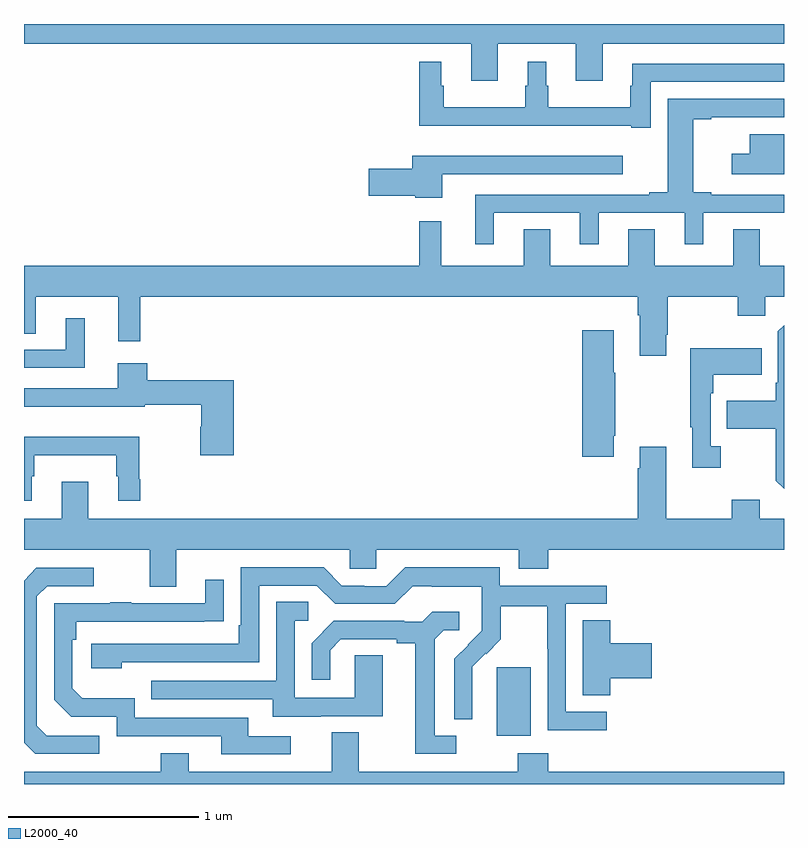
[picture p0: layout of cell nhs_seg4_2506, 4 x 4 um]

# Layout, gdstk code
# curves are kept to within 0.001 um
import gdstk
lib = gdstk.Library(unit=1e-6, precision=1e-09)
def R(c, l, rs):  # rectangles x0, y0, x1, y1
    for r in rs: c.add(gdstk.rectangle(r[:2], r[2:], *l))
def P(c, l, *ps):  # polygons
    for p in ps: c.add(gdstk.Polygon(p, *l))
L2000_40 = (2000, 40)

nhs_seg4_2506 = lib.new_cell('nhs_seg4_2506')
R(nhs_seg4_2506, L2000_40, [(243.488,817.154,243.667,817.515)])
P(nhs_seg4_2506, L2000_40, [(243.493,820.796),(243.905,820.796),(243.905,820.602),(244.045,820.602),(244.045,820.796),(245,820.796),(245,820.9),(241,820.9),(241,820.796),(243.353,820.796),(243.353,820.602),(243.493,820.602)],
  [(244.299,820.596),(245,820.596),(245,820.692),(244.202,820.692),(244.202,820.574),(244.191,820.574),(244.191,820.462),(243.76,820.462),(243.76,820.574),(243.748,820.574),(243.748,820.702),(243.65,820.702),(243.65,820.574),(243.639,820.574),(243.639,820.462),(243.208,820.462),(243.208,820.574),(243.196,820.574),(243.196,820.702),(243.079,820.702),(243.079,820.364),(244.196,820.364),(244.196,820.353),(244.299,820.353)],
  [(243.472,819.906),(243.926,819.906),(243.926,819.741),(244.024,819.741),(244.024,819.906),(244.478,819.906),(244.478,819.741),(244.576,819.741),(244.576,819.906),(245,819.906),(245,820.002),(244.618,820.002),(244.618,820.015),(244.522,820.015),(244.522,820.398),(244.618,820.398),(244.618,820.41),(245,820.41),(245,820.506),(244.388,820.506),(244.388,820.015),(244.292,820.015),(244.292,820.002),(243.374,820.002),(243.374,819.741),(243.472,819.741)],
  [(245,820.321),(244.82,820.321),(244.82,820.216),(244.725,820.216),(244.725,820.109),(245,820.109)],
  [(243.202,820.11),(244.15,820.11),(244.15,820.207),(243.044,820.207),(243.044,820.139),(242.814,820.139),(242.814,819.997),(243.06,819.997),(243.06,819.986),(243.202,819.986)],
  [(244.381,819.265),(244.389,819.265),(244.389,819.464),(244.756,819.464),(244.756,819.365),(244.902,819.365),(244.902,819.464),(245,819.464),(245,819.628),(244.873,819.628),(244.873,819.821),(244.733,819.821),(244.733,819.628),(244.321,819.628),(244.321,819.821),(244.181,819.821),(244.181,819.628),(243.769,819.628),(243.769,819.821),(243.629,819.821),(243.629,819.628),(243.197,819.628),(243.197,819.862),(243.079,819.862),(243.079,819.628),(241,819.628),(241,819.271),(241.063,819.271),(241.063,819.464),(241.496,819.464),(241.496,819.231),(241.613,819.231),(241.613,819.464),(244.229,819.464),(244.229,819.368),(244.241,819.368),(244.241,819.153),(244.381,819.153)],
  [(241.319,819.352),(241.22,819.352),(241.22,819.186),(241,819.186),(241,819.09),(241.319,819.09)],
  [(245,819.314),(244.968,819.282),(244.968,819.013),(244.956,819.013),(244.956,818.917),(244.699,818.917),(244.699,818.77),(244.956,818.77),(244.956,818.497),(245,818.453)],
  [(244.105,818.734),(244.113,818.734),(244.113,819.065),(244.105,819.065),(244.105,819.289),(243.938,819.289),(243.938,818.622),(244.105,818.622)],
  [(244.666,818.678),(244.614,818.678),(244.614,818.957),(244.627,818.957),(244.627,819.053),(244.883,819.053),(244.883,819.193),(244.506,819.193),(244.506,818.777),(244.517,818.777),(244.517,818.565),(244.666,818.565)],
  [(242.105,819.025),(241.649,819.025),(241.649,819.115),(241.493,819.115),(241.493,818.982),(241,818.982),(241,818.885),(241.636,818.885),(241.636,818.896),(241.934,818.896),(241.934,818.781),(241.927,818.781),(241.927,818.631),(242.105,818.631)],
  [(241.042,818.519),(241.054,818.519),(241.054,818.63),(241.485,818.63),(241.485,818.519),(241.496,818.519),(241.496,818.391),(241.613,818.391),(241.613,818.503),(241.606,818.503),(241.606,818.728),(241,818.728),(241,818.391),(241.042,818.391)],
  [(241.801,818.132),(242.715,818.132),(242.715,818.034),(242.853,818.034),(242.853,818.132),(243.605,818.132),(243.605,818.033),(243.758,818.033),(243.758,818.132),(245,818.132),(245,818.296),(244.873,818.296),(244.873,818.395),(244.726,818.395),(244.726,818.296),(244.381,818.296),(244.381,818.674),(244.241,818.674),(244.241,818.561),(244.229,818.561),(244.229,818.296),(241.339,818.296),(241.339,818.491),(241.199,818.491),(241.199,818.296),(241,818.296),(241,818.132),(241.661,818.132),(241.661,817.938),(241.801,817.938)],
  [(244.066,817.281),(243.852,817.281),(243.852,817.848),(244.066,817.848),(244.066,817.944),(243.504,817.944),(243.504,818.041),(243.007,818.041),(242.907,817.941),(242.792,817.941),(242.792,817.944),(242.673,817.944),(242.577,818.04),(242.142,818.04),(242.142,817.735),(242.129,817.735),(242.129,817.638),(241.353,817.638),(241.353,817.508),(241.514,817.508),(241.514,817.542),(242.238,817.542),(242.238,817.944),(242.541,817.944),(242.637,817.848),(242.952,817.848),(243.045,817.941),(243.145,817.941),(243.145,817.937),(243.408,817.937),(243.408,817.803),(243.41,817.803),(243.41,817.706),(243.264,817.558),(243.264,817.24),(243.36,817.24),(243.359,817.517),(243.429,817.587),(243.432,817.584),(243.509,817.661),(243.509,817.836),(243.754,817.836),(243.754,817.612),(243.756,817.612),(243.756,817.183),(244.066,817.183)],
  [(241.396,817.155),(241.119,817.155),(241.068,817.206),(241.068,817.887),(241.122,817.941),(241.366,817.941),(241.366,818.037),(241.065,818.037),(241,817.971),(241,817.118),(241.059,817.059),(241.396,817.059)],
  [(242.404,817.152),(242.179,817.152),(242.179,817.248),(241.584,817.248),(241.584,817.351),(241.307,817.351),(241.254,817.404),(241.254,817.658),(241.274,817.658),(241.274,817.755),(242.051,817.756),(242.051,817.975),(241.955,817.975),(241.955,817.851),(241.565,817.851),(241.565,817.856),(241.453,817.856),(241.453,817.851),(241.158,817.851),(241.158,817.344),(241.248,817.254),(241.488,817.254),(241.488,817.152),(242.039,817.152),(242.039,817.056),(242.404,817.056)],
  [(242.563,817.257),(242.887,817.257),(242.887,817.577),(242.742,817.577),(242.742,817.353),(242.424,817.353),(242.424,817.758),(242.497,817.758),(242.497,817.859),(242.328,817.859),(242.328,817.443),(241.669,817.443),(241.669,817.347),(242.309,817.347),(242.309,817.253),(242.563,817.253)],
  [(243.274,817.155),(243.163,817.155),(243.163,817.663),(243.21,817.71),(243.292,817.71),(243.292,817.807),(243.148,817.807),(243.096,817.755),(243.002,817.755),(243.002,817.758),(242.63,817.758),(242.514,817.642),(242.514,817.449),(242.611,817.449),(242.611,817.605),(242.668,817.662),(242.963,817.662),(242.963,817.64),(243.059,817.64),(243.059,817.059),(243.274,817.059)],
  [(244.085,817.457),(244.303,817.457),(244.303,817.64),(244.085,817.64),(244.085,817.763),(243.941,817.763),(243.941,817.366),(244.085,817.366)],
  [(245,816.964),(243.758,816.964),(243.758,817.063),(243.598,817.063),(243.598,816.964),(242.761,816.964),(242.761,817.172),(242.621,817.172),(242.621,816.964),(241.867,816.964),(241.867,817.063),(241.72,817.063),(241.72,816.964),(241,816.964),(241,816.9),(245,816.9)])

lib.write_gds('nhs_seg4_2506.gds')
